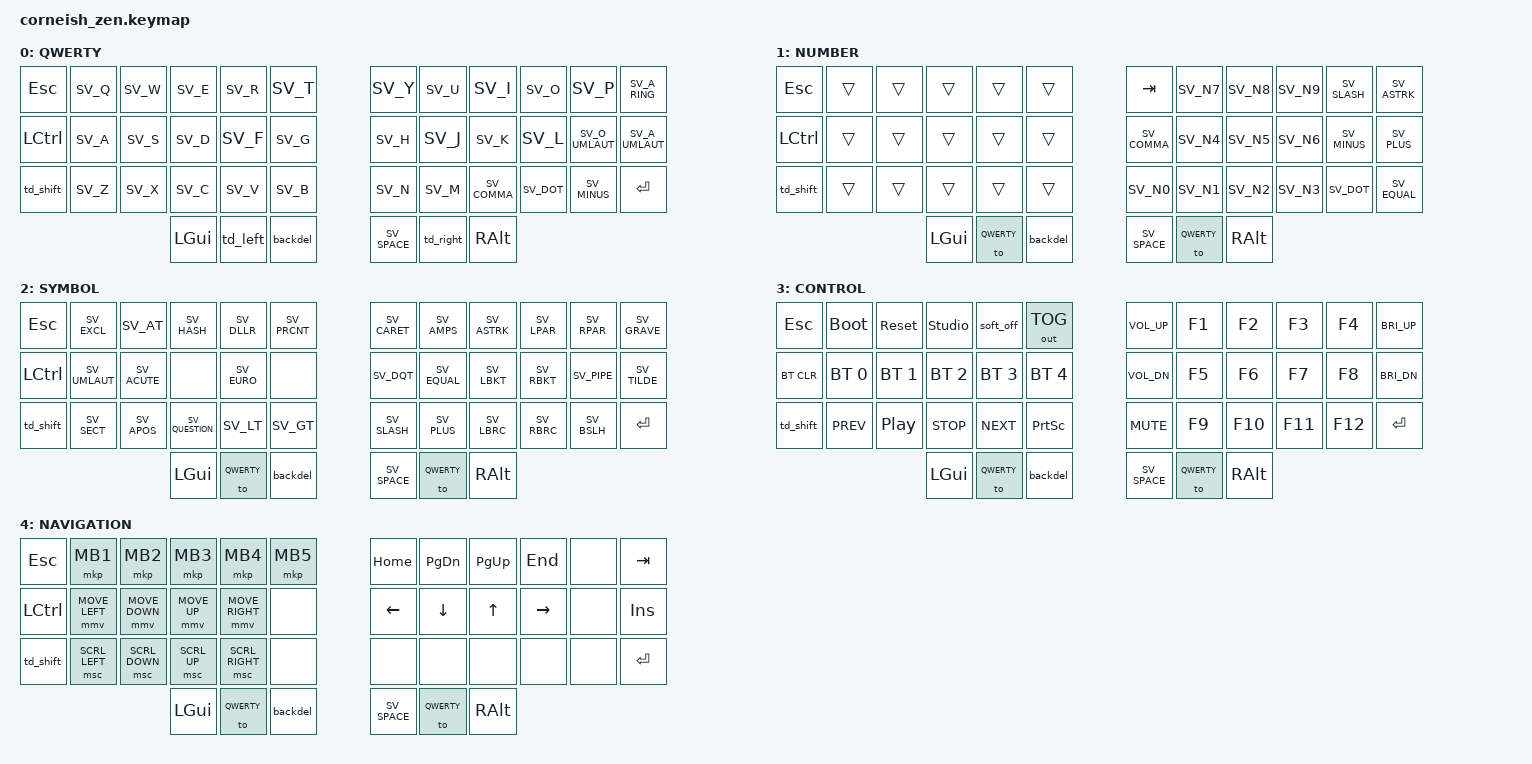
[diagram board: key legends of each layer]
/*
*
* Copyright (c) 2021 Darryl deHaan
* SPDX-License-Identifier: MIT
*
*/

#include <behaviors.dtsi>
#include <dt-bindings/zmk/keys.h>
#include <dt-bindings/zmk/bt.h>
#include <dt-bindings/zmk/outputs.h>
#include <dt-bindings/zmk/pointing.h>

/*
* MacOS Swedish keymap
* Generated with zmk-locale-generator: https://github.com/joelspadin/zmk-locale-generator
* From sv-t-k0-osx-extended.xml: https://github.com/unicode-org/cldr/blob/9122a1a738f02cfd652c4cc1c865e1fd789a92a2/keyboards/osx/sv-t-k0-osx-extended.xml
* Use with module zmk-locales
*/
#include "keys_sv_osx.h"

// Layers
#define QWERTY     0
#define NUMBER     1
#define SYMBOL     2
#define CONTROL    3
#define NAVIGATION 4

/ {
    chosen {
        zmk,physical-layout = &foostan_corne_6col_layout;
        // zmk,physical-layout = &foostan_corne_5col_layout;
    };
};

/ {
    behaviors {
        td_left: tap_dance_left {
            compatible = "zmk,behavior-tap-dance";
            #binding-cells = <0>;
            tapping-term-ms = <200>;
            bindings = <&to NUMBER>, <&to CONTROL>;
        };

        td_right: tap_dance_right {
            compatible = "zmk,behavior-tap-dance";
            #binding-cells = <0>;
            tapping-term-ms = <200>;
            bindings = <&to SYMBOL>, <&to NAVIGATION>;
        };

        td_shift: tap_dance_shift_caps {
            compatible = "zmk,behavior-tap-dance";
            #binding-cells = <0>;
            tapping-term-ms = <200>;
            bindings = <&kp LSHIFT>, <&caps_word>;
        };

        backdel: mod_morph_backspace_delete {
            compatible = "zmk,behavior-mod-morph";
            #binding-cells = <0>;
            bindings = <&kp BSPC>, <&kp DEL>;
            mods = <(MOD_LGUI|MOD_LSFT)>;
        };
    };

    keymap {
        compatible = "zmk,keymap";

        default_layer {
            display-name = "QWERTY";
// --------------------------------------------------------------------------------
// |  ESC |  Q  |  W  |  E  |  R  |  T   |   |  Y  |  U   |  I  |  O  |  P  |  Å  |
// | CTRL |  A  |  S  |  D  |  F  |  G   |   |  H  |  J   |  K  |  L  |  Ö  |  Ä  |
// | SHFT |  Z  |  X  |  C  |  V  |  B   |   |  N  |  M   |  ,  |  .  |  -  | RET |
//                    | GUI | LWR | BSPC |   | SPC | RSE  | ALT |
            bindings = <
&kp ESC   &kp SV_Q &kp SV_W &kp SV_E &kp SV_R   &kp SV_T     &kp SV_Y      &kp SV_U   &kp SV_I     &kp SV_O   &kp SV_P        &kp SV_A_RING
&kp LCTRL &kp SV_A &kp SV_S &kp SV_D &kp SV_F   &kp SV_G     &kp SV_H      &kp SV_J   &kp SV_K     &kp SV_L   &kp SV_O_UMLAUT &kp SV_A_UMLAUT
&td_shift &kp SV_Z &kp SV_X &kp SV_C &kp SV_V   &kp SV_B     &kp SV_N      &kp SV_M   &kp SV_COMMA &kp SV_DOT &kp SV_MINUS    &kp RET
                            &kp LGUI &td_left   &backdel     &kp SV_SPACE  &td_right  &kp RALT
            >;
        };

        lower_layer {
            display-name = "NUMBER";
// ------------------------------------------------------------------------------
// |  ESC |     |     |     |    |      |   | TAB |  7  |  8  |  9  |  /  |  *  |
// | CTRL |     |     |     |    |      |   |  ,  |  4  |  5  |  6  |  -  |  +  |
// | SHFT |     |     |     |    |      |   |  0  |  1  |  2  |  3  |  .  |  =  |
//                    | GUI |    | BSPC |   | SPC |     | ALT |
            bindings = <
&kp ESC   &trans &trans &trans   &trans     &trans       &kp TAB      &kp SV_N7 &kp SV_N8 &kp SV_N9 &kp SV_SLASH &kp SV_ASTRK
&kp LCTRL &trans &trans &trans   &trans     &trans       &kp SV_COMMA &kp SV_N4 &kp SV_N5 &kp SV_N6 &kp SV_MINUS &kp SV_PLUS
&td_shift &trans &trans &trans   &trans     &trans       &kp SV_N0    &kp SV_N1 &kp SV_N2 &kp SV_N3 &kp SV_DOT   &kp SV_EQUAL
                        &kp LGUI &to QWERTY &backdel     &kp SV_SPACE &to QWERTY &kp RALT
            >;
        };

        raise_layer {
            display-name = "SYMBOL";
// -------------------------------------------------------------------------------
// |  ESC |  !  |  @  |  #  |  $  |  %   |   |  ^  |  &  |  *  |  (  |  )  |  `  |
// | CTRL |  ¨  |  ´  |     |  €  |      |   |  "  |  =  |  [  |  ]  | "|" |  ~  |
// | SHFT |  §  |  '  |  ?  |  <  |  >   |   |  /  |  +  |  {  |  }  |  \  | RET |
//                    | GUI |     | BSPC |   | SPC |     | ALT |
            bindings = <
&kp  ESC  &kp SV_EXCL   &kp SV_AT    &kp SV_HASH     &kp SV_DLLR    &kp SV_PRCNT &kp SV_CARET &kp SV_AMPS  &kp SV_ASTRK &kp SV_LPAR &kp SV_RPAR &kp SV_GRAVE
&kp LCTRL &kp SV_UMLAUT &kp SV_ACUTE &none           &kp SV_EURO    &none        &kp SV_DQT   &kp SV_EQUAL &kp SV_LBKT  &kp SV_RBKT &kp SV_PIPE &kp SV_TILDE
&td_shift &kp SV_SECT   &kp SV_APOS  &kp SV_QUESTION &kp SV_LT      &kp SV_GT    &kp SV_SLASH &kp SV_PLUS  &kp SV_LBRC  &kp SV_RBRC &kp SV_BSLH &kp RET
                        &kp LGUI     &to QWERTY      &backdel       &kp SV_SPACE &to QWERTY   &kp RALT
            >;
        };

        control_layer {
            display-name = "CONTROL";
// ----------------------------------------------------------------------------------------
// |  ESC | boot | reset | studio | off  | usb   |   | VOL+ | F1  | F2  | F3  | F4  | BR+ |
// | BTCLR| BT1  | BT2   | BT3    | BT4  | BT5   |   | VOL- | F5  | F6  | F7  | F8  | BR- |
// | SHFT | PREV | PLAY  | STOP   | NEXT | PSCRN |   | MUT  | F9  | F10 | F11 | F12 | RET |
//                       | GUI    |      | BSPC  |   | ENT  |     | ALT |
            bindings = <
&kp ESC    &bootloader  &sys_reset   &studio_unlock &soft_off    &out OUT_TOG       &kp C_VOL_UP &kp F1     &kp F2  &kp F3   &kp F4   &kp C_BRI_UP
&bt BT_CLR &bt BT_SEL 0 &bt BT_SEL 1 &bt BT_SEL 2   &bt BT_SEL 3 &bt BT_SEL 4       &kp C_VOL_DN &kp F5     &kp F6  &kp F7   &kp F8   &kp C_BRI_DN
&td_shift  &kp C_PREV   &kp C_PP     &kp C_STOP     &kp C_NEXT   &kp PRINTSCREEN    &kp C_MUTE   &kp F9     &kp F10 &kp F11  &kp F12  &kp RET
                                     &kp LGUI       &to QWERTY   &backdel           &kp SV_SPACE &to QWERTY &kp RALT
            >;
        };

        navigation_layer {
            display-name = "NAVIGATION";
// ---------------------------------------------------------------------------------------------------------
// |  ESC | MB1       | MB2       | MB3     | MB4       | MB5  |   | HOME | PGDN | PGUP |  END  |    | TAB |
// | BTCLR| MLEFT     | MDOWN     | MUP     | MRIGHT    |      |   | LEFT | DOWN |  UP  | RIGHT |    | INS |
// | SHFT | SCRL_LEFT | SCRL_DOWN | SCRL_UP | SCRL_RIGHT|      |   |      |      |      |       |    | RET |
//                                | GUI     |           | BSPC |   | ENT  |      | ALT  |
            bindings = <
&kp ESC   &mkp MB1       &mkp MB2       &mkp MB3     &mkp MB4        &mkp MB5      &kp HOME     &kp PG_DN  &kp PG_UP &kp END   &none &kp TAB
&kp LCTRL &mmv MOVE_LEFT &mmv MOVE_DOWN &mmv MOVE_UP &mmv MOVE_RIGHT &none         &kp LEFT     &kp DOWN   &kp UP    &kp RIGHT &none &kp INS
&td_shift &msc SCRL_LEFT &msc SCRL_DOWN &msc SCRL_UP &msc SCRL_RIGHT &none         &none        &none      &none     &none     &none &kp RET
                                        &kp LGUI     &to QWERTY      &backdel      &kp SV_SPACE &to QWERTY &kp RALT
            >;
        };

    };
};
